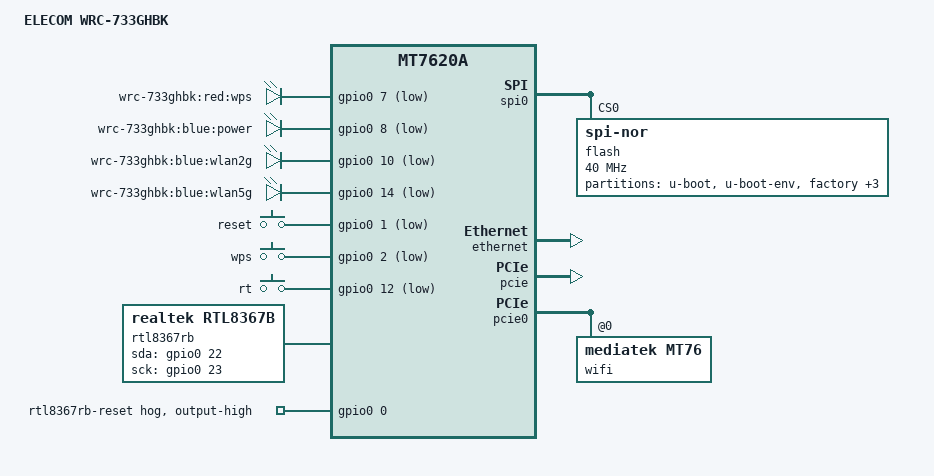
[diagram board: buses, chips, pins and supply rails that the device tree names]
// SPDX-License-Identifier: GPL-2.0-or-later OR MIT
/dts-v1/;

#include "mt7620a.dtsi"

#include <dt-bindings/gpio/gpio.h>
#include <dt-bindings/input/input.h>

/ {
	compatible = "elecom,wrc-733ghbk", "ralink,mt7620a-soc";
	model = "ELECOM WRC-733GHBK";

	aliases {
		led-boot = &led_power;
		led-failsafe = &led_power;
		led-running = &led_power;
		led-upgrade = &led_power;
	};

	leds {
		compatible = "gpio-leds";

		wps {
			label = "wrc-733ghbk:red:wps";
			gpios = <&gpio0 7 GPIO_ACTIVE_LOW>;
		};

		led_power: power {
			label = "wrc-733ghbk:blue:power";
			gpios = <&gpio0 8 GPIO_ACTIVE_LOW>;
		};

		wlan2g {
			label = "wrc-733ghbk:blue:wlan2g";
			gpios = <&gpio0 10 GPIO_ACTIVE_LOW>;
			linux,default-trigger = "phy1radio";
		};

		wlan5g {
			label = "wrc-733ghbk:blue:wlan5g";
			gpios = <&gpio0 14 GPIO_ACTIVE_LOW>;
			linux,default-trigger = "phy0radio";
		};
	};

	keys {
		compatible = "gpio-keys";

		reset {
			label = "reset";
			gpios = <&gpio0 1 GPIO_ACTIVE_LOW>;
			linux,code = <KEY_RESTART>;
		};

		wps {
			label = "wps";
			gpios = <&gpio0 2 GPIO_ACTIVE_LOW>;
			linux,code = <KEY_WPS_BUTTON>;
		};

		router {
			label = "rt";
			gpios = <&gpio0 12 GPIO_ACTIVE_LOW>;
			linux,code = <BTN_0>;
			linux,input-type = <EV_SW>;
		};
	};

	rtl8367rb {
		compatible = "realtek,rtl8367b";
		gpio-sda = <&gpio0 22 GPIO_ACTIVE_HIGH>;
		gpio-sck = <&gpio0 23 GPIO_ACTIVE_HIGH>;
		realtek,extif1 = <1 0 1 1 1 1 1 1 2>;
	};
};

&spi0 {
	status = "okay";

	flash@0 {
		compatible = "jedec,spi-nor";
		reg = <0>;
		spi-max-frequency = <40000000>;

		partitions {
			compatible = "fixed-partitions";
			#address-cells = <1>;
			#size-cells = <1>;

			partition@0 {
				label = "u-boot";
				reg = <0x0 0x30000>;
				read-only;
			};

			partition@30000 {
				label = "u-boot-env";
				reg = <0x30000 0x10000>;
				read-only;
			};

			factory: partition@40000 {
				label = "factory";
				reg = <0x40000 0x10000>;
				read-only;
			};

			partition@50000 {
				label = "nvram";
				reg = <0x50000 0x20000>;
				read-only;
			};

			partition@70000 {
				compatible = "edimax,uimage";
				label = "firmware";
				reg = <0x70000 0x780000>;
			};

			partition@7f0000 {
				label = "hwconfig";
				reg = <0x7f0000 0x10000>;
				read-only;
			};
		};
	};
};

&ethernet {
	status = "okay";
	pinctrl-names = "default";
	pinctrl-0 = <&rgmii1_pins>;

	port@5 {
		status = "okay";
		mediatek,fixed-link = <1000 1 1 1>;
		phy-mode = "rgmii";
	};
};

&gpio0 {
	rtl8367rb_reset {
		gpio-hog;
		gpios = <0 GPIO_ACTIVE_HIGH>;
		output-high;
		line-name = "rtl8367rb-reset";
	};
};

&state_default {
	gpio {
		ralink,group = "i2c", "uartf", "mdio";
		ralink,function = "gpio";
	};
};

&pcie {
	status = "okay";
};

&pcie0 {
	/* A MAC address for 5 GHz wireless is stored as a text in
	 * "hwconfig" partition and a raw hex MAC address is not stored
	 * anywhere in the flash. mt76 driver does not support text MAC
	 * address, so correct MAC address cannot be used for 5 GHz
	 * wireless.
	 */
	wifi@0,0 {
		compatible = "mediatek,mt76";
		reg = <0x0000 0 0 0 0>;
		mediatek,mtd-eeprom = <&factory 0x8000>;
		ieee80211-freq-limit = <5000000 6000000>;
	};
};
